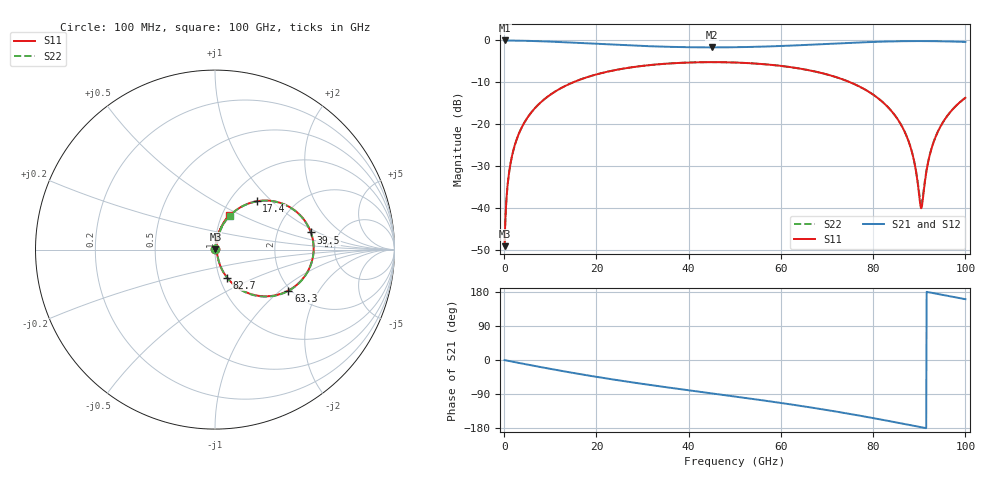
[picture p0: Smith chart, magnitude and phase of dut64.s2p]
! Touchstone file exported from HFSS 2026.1.0
!  File:  C:/ffzhzh/LocalFiles/Ansys_Project_Files/temp_train_RDL_64_1783498526_31944.aedt
!  Generated:  04:16:55 PM Jul  8, 2026
!  Design:  RDL
!  Project:  temp_train_RDL_64_1783498526_31944
! Variables:
!  h_bsmrdl = 2um
!  h_ox = 20um
!  h_rdl = 5um
!  h_sub = 80um
!  h_tmrdl = 4.8um
!  h_tsv = 80um
!  h_via = 3um
!  l_bsmrdl = 300um
!  l_sub = 1060.32um
!  l_tmrdl = 660.32um
!  m_sub = 200um
!  pitch = 52.14um
!  r_tsv = 6um
!  s_tmrdl = 10um
!  w_bsmrdl = 18um
!  w_sub = 500um
!  w_tmrdl = 23.19um
!  x_tsv_center1 = 671.915um
!  x_tsv_center2 = 989.915um
!  x_tsv_center3 = 1673.425um
!  x_tsv_center4 = 1991.425um
!  x_tsv_center5 = 2674.935um
!  x_tsv_center6 = 2992.935um
# GHz S MA R 50.000000
! Terminal data exported
! Port[1] = TM_RDL1_1_T1
! Port[2] = TM_RDL1_1_T2
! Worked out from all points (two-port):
!   1000 points, 100 MHz to 100 GHz, reference 50 ohm
!   highest |S21| = -0.02 dB at 100 MHz (marker M1); lowest = -1.7 dB at 45 GHz (marker M2)
!   |S21| within 3 dB of the highest: start of sweep to end of sweep
!   lowest |S11| = -49.1 dB at 100 MHz (marker M3), VSWR 1.01, Z = 50.2 + j0.265 ohm
!   |S11| at or under -10 dB: start of sweep to 14.99 GHz; 75 GHz to end of sweep
!   |S22| runs from -49.1 to -5.2 dB; largest |S21 - S12| = 1.8e-14
!   S11 on the Smith chart (normalised r, x): 100 MHz: 1.00, +0.01; 17.4 GHz: 1.32, +0.81; 39.5 GHz: 3.12, +0.85; 63.3 GHz: 1.95, -1.14; 82.7 GHz: 1.09, -0.35; 100 GHz: 1.08, +0.43
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0.1  0.003495 49.1  0.9977 -0.3  0.9977 -0.3  0.003495 49.1
! Gamma 0 0 0 0
! Port Impedance 50 0 50 0
0.8  0.01993 79.9  0.997 -2.0  0.997 -2.0  0.01993 79.9
1.4  0.03438 81.4  0.9963 -3.4  0.9963 -3.4  0.03438 81.4
3.9  0.09334 77.6  0.9908 -9.4  0.9908 -9.4  0.09334 77.6
8.9  0.2022 66.9  0.9715 -20.9  0.9715 -20.9  0.2022 66.8
16.8  0.3456 50.5  0.9285 -38.0  0.9285 -38.0  0.3456 50.4
17.4  0.3548 49.3  0.9249 -39.2  0.9249 -39.2  0.3549 49.2
33.4  0.5181 20.2  0.8446 -68.9  0.8446 -68.9  0.5181 20.0
39.5  0.5428 10.2  0.8293 -79.1  0.8293 -79.1  0.5428 9.9
45  0.5498 1.3  0.8247 -88.1  0.8247 -88.1  0.5499 1.1
50.1  0.5438 -6.9  0.8285 -96.5  0.8285 -96.5  0.5439 -7.2
63.3  0.4684 -29.1  0.8714 -119.3  0.8714 -119.3  0.4685 -29.5
66.7  0.4331 -35.3  0.8885 -125.7  0.8885 -125.7  0.4333 -35.7
76.1  0.2975 -53.6  0.9396 -144.7  0.9396 -144.7  0.2976 -53.9
82.7  0.1703 -66.6  0.9683 -159.4  0.9683 -159.4  0.1704 -66.7
83.4  0.1556 -67.9  0.9705 -161.0  0.9705 -161.0  0.1557 -68.0
87.7  0.06202 -72.2  0.9796 -171.0  0.9796 -171.0  0.06232 -71.5
88.9  0.03571 -68.1  0.9806 -173.8  0.9806 -173.8  0.03619 -66.4
90.4  0.009913 -0.7  0.9808 -177.3  0.9808 -177.3  0.01147 -1.0
92.2  0.04115 74.3  0.9796 178.4  0.9796 178.4  0.04155 71.5
93.7  0.07402 77.0  0.9774 174.9  0.9774 174.9  0.07426 75.1
100  0.2066 67.7  0.9577 160.5  0.9577 160.5  0.2067 66.5
